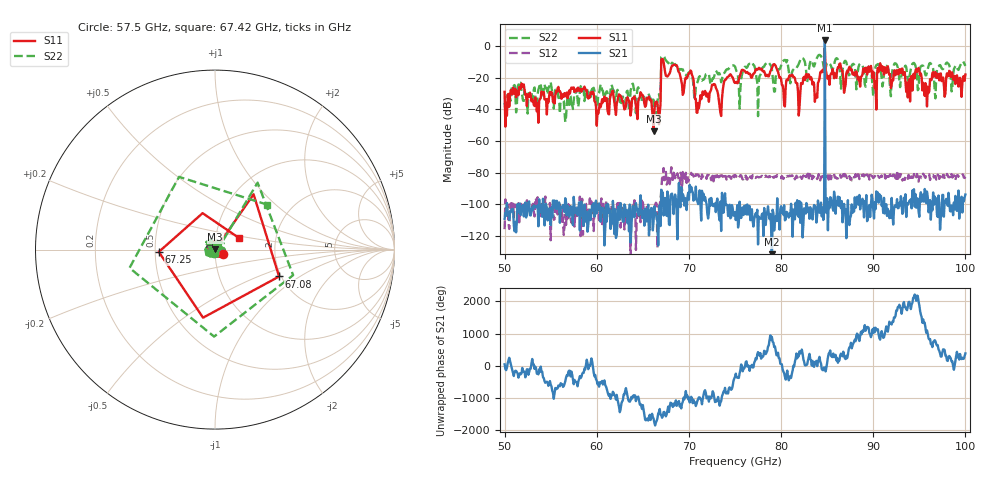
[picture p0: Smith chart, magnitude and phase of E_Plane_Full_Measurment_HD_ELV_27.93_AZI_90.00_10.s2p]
! 11/26/2026 3:19:01 PM
! C:\ANRITSUVNA\TEMP\TEMP.S2P
! CHANNEL.1
! TR.MEASUREMENT
! RAW.DATA
# HZ S RI R 50.0
! FREQ.HZ  S11RE  S11IM  S21RE  S21IM  S12RE  S12IM  S22RE  S22IM
!; PortSelection: Port_12
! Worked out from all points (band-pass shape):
!   601 points, 50 GHz to 100 GHz, reference 50 ohm
!   highest |S21| = 3.51 dB at 84.75 GHz (marker M1); lowest = -140.0 dB at 79 GHz (marker M2)
!   |S21| within 3 dB of the highest: 84.74766 GHz to 84.75232 GHz (4.657 MHz wide, 0.0055 % of centre)
!   lowest |S11| = -53.9 dB at 66.17 GHz (marker M3), VSWR 1.00, Z = 50.1 + j0.147 ohm
!   |S11| at or under -10 dB: start of sweep to 67 GHz; 67.25 GHz to 84.7 GHz (17.45 GHz wide, 23 % of centre); 84.8 GHz to end of sweep
!   |S22| runs from -48.1 to -5.6 dB; largest |S21 - S12| = 1.5
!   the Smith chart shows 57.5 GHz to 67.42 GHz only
!   S11 on the Smith chart (normalised r, x): 57.5 GHz: 1.09, -0.05; 67.08 GHz: 1.95, -0.69; 67.25 GHz: 0.52, -0.01; 67.42 GHz: 1.29, +0.17
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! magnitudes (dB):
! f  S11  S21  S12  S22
! 50 GHz  -29.0  -109.2  -115.8  -35.8
! 51.67 GHz  -26.3  -99.6  -104.2  -23.3
! 57.5 GHz  -26.2  -95.3  -100.4  -34.7
! 58.42 GHz  -27.2  -107.0  -96.5  -24.7
! 60.17 GHz  -42.8  -102.8  -104.7  -30.4
! 66.17 GHz  -53.9  -110.6  -103.7  -34.0
! 66.67 GHz  -41.5  -126.0  -112.3  -31.7
! 67.08 GHz  -8.2  -93.0  -83.6  -6.8
! 67.25 GHz  -10.1  -107.1  -77.2  -6.2
! 67.42 GHz  -16.6  -96.0  -80.9  -8.3
! 70.25 GHz  -15.9  -89.0  -80.2  -18.8
! 70.92 GHz  -42.2  -98.1  -81.2  -23.1
! 75 GHz  -23.4  -105.0  -81.6  -13.0
! 79 GHz  -14.0  -140.0  -83.5  -14.6
! 80.25 GHz  -27.8  -106.6  -84.0  -9.3
! 83.42 GHz  -24.4  -109.6  -81.9  -10.8
! 84.75 GHz  -1.2  3.5  -82.2  -16.8
! 85.08 GHz  -18.9  -116.5  -81.8  -10.4
! 91.67 GHz  -16.6  -104.9  -82.7  -15.2
! 94.83 GHz  -15.1  -96.7  -82.9  -27.9
! 95.83 GHz  -38.2  -92.0  -81.5  -16.5
! 100 GHz  -18.0  -93.8  -82.7  -12.6
